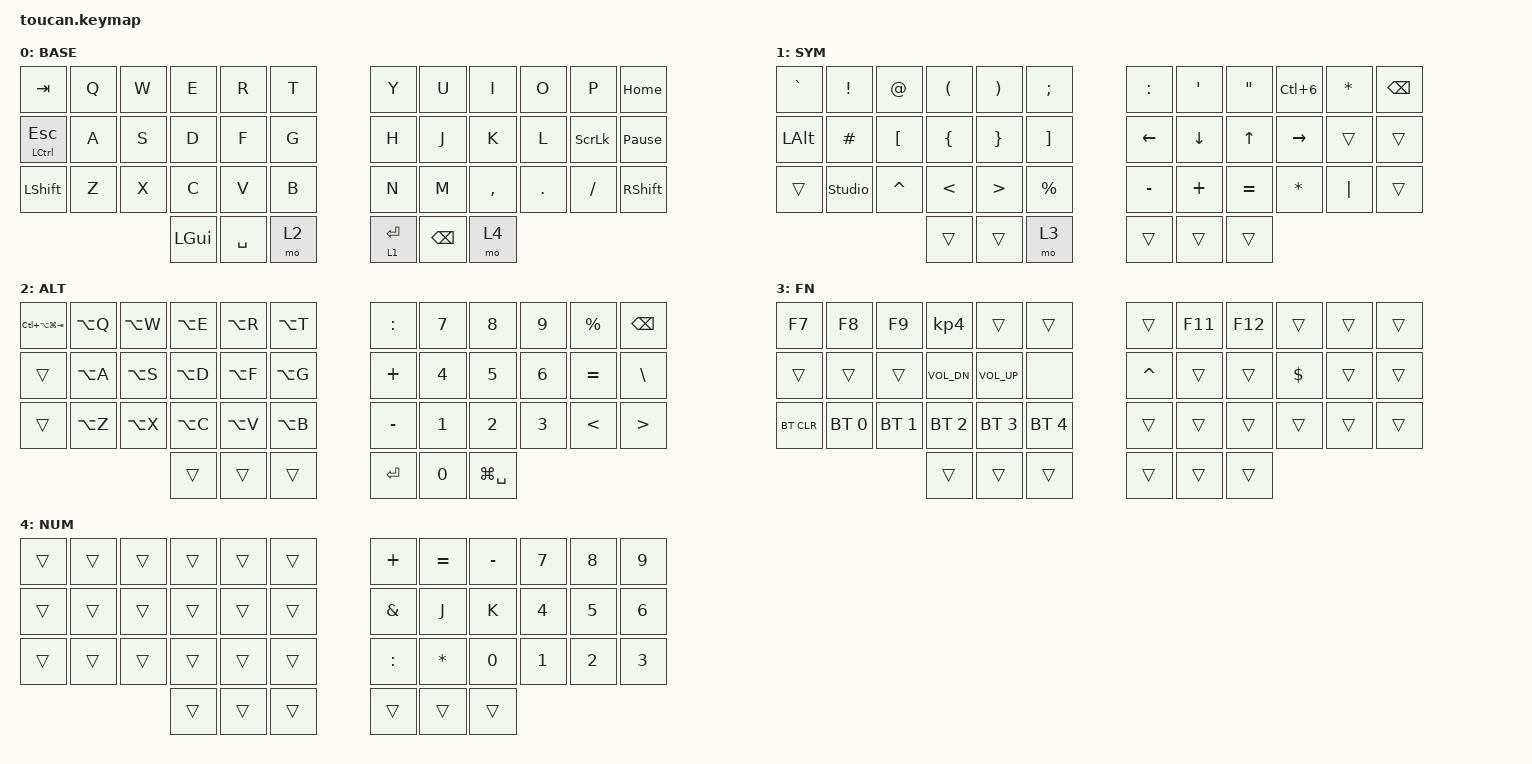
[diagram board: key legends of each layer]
#include <behaviors.dtsi>
#include <dt-bindings/zmk/keys.h>
#include <dt-bindings/zmk/bt.h>
#include <dt-bindings/zmk/outputs.h>

#define BASE 0
#define SYM  1
#define ALT  2
#define FN   3
#define NUM  4

/ {
    behaviors {
        // Layer-tap matching Vial timing (175ms)
        flt: fast_layer_tap {
            compatible = "zmk,behavior-hold-tap";
            #binding-cells = <2>;
            tapping-term-ms = <175>;
            quick-tap-ms = <125>;
            flavor = "balanced";
            bindings = <&mo>, <&kp>;
        };

        // Mod-tap matching Vial timing (175ms)
        fmt: fast_mod_tap {
            compatible = "zmk,behavior-hold-tap";
            #binding-cells = <2>;
            tapping-term-ms = <175>;
            quick-tap-ms = <125>;
            flavor = "balanced";
            bindings = <&kp>, <&kp>;
        };
    };

    keymap {
        compatible = "zmk,keymap";

        // Layer 0: Base QWERTY (ported from Vial)
        // Trackpad = pointer mode
        base {
            display-name = "BASE";
            bindings = <
                &kp TAB        &kp Q  &kp W  &kp E  &kp R      &kp T        &kp Y       &kp U     &kp I      &kp O    &kp P     &kp HOME
                &fmt LCTRL ESC &kp A  &kp S  &kp D  &kp F      &kp G        &kp H       &kp J     &kp K      &kp L    &kp SLCK  &kp PAUSE_BREAK
                &kp LSHFT      &kp Z  &kp X  &kp C  &kp V      &kp B        &kp N       &kp M     &kp COMMA  &kp DOT  &kp FSLH  &kp RSHFT
                                             &kp LGUI  &kp SPACE  &mo 2       &flt 1 RET  &kp BSPC  &mo 4
            >;
        };

        // Layer 1: Symbols + Navigation (via hold Enter)
        // Trackpad = scroll mode
        sym {
            display-name = "SYM";
            bindings = <
                &kp GRAVE  &kp EXCL  &kp AT    &kp LPAR  &kp RPAR  &kp SEMI      &kp COLON  &kp SQT   &kp DQT    &kp LC(N6)  &kp ASTRK  &kp BSPC
                &kp LALT   &kp HASH  &kp LBKT  &kp LBRC  &kp RBRC  &kp RBKT      &kp LEFT   &kp DOWN  &kp UP     &kp RIGHT   &trans     &trans
                &trans     &studio_unlock  &kp CARET  &kp LT  &kp GT  &kp PRCNT  &kp MINUS  &kp PLUS  &kp EQUAL  &kp ASTRK   &kp PIPE   &trans
                                                  &trans  &trans  &mo 3         &trans     &trans    &trans
            >;
        };

        // Layer 2: Alt macros + Numbers (via MO left thumb)
        // Trackpad = scroll mode
        alt {
            display-name = "ALT";
            bindings = <
                &kp LC(LA(LG(TAB)))  &kp LA(Q)  &kp LA(W)  &kp LA(E)  &kp LA(R)  &kp LA(T)      &kp COLON  &kp N7  &kp N8  &kp N9  &kp PRCNT  &kp BSPC
                &trans               &kp LA(A)  &kp LA(S)  &kp LA(D)  &kp LA(F)  &kp LA(G)      &kp PLUS   &kp N4  &kp N5  &kp N6  &kp EQUAL  &kp BSLH
                &trans               &kp LA(Z)  &kp LA(X)  &kp LA(C)  &kp LA(V)  &kp LA(B)      &kp MINUS  &kp N1  &kp N2  &kp N3  &kp LT     &kp GT
                                                           &trans     &trans     &trans         &kp RET    &kp N0  &kp LG(SPACE)
            >;
        };

        // Layer 3: Function keys + Media (via MO from layer 1)
        fn {
            display-name = "FN";
            bindings = <
                &kp F7      &kp F8  &kp F9      &kp KP_N4     &trans        &trans        &trans      &kp F11  &kp F12  &trans    &trans  &trans
                &trans      &trans  &trans      &kp C_VOL_DN  &kp C_VOL_UP  &none         &kp CARET   &trans   &trans   &kp DLLR  &trans  &trans
                &bt BT_CLR  &bt BT_SEL 0  &bt BT_SEL 1  &bt BT_SEL 2  &bt BT_SEL 3  &bt BT_SEL 4  &trans  &trans  &trans  &trans  &trans  &trans
                                                        &trans        &trans        &trans        &trans      &trans   &trans
            >;
        };

        // Layer 4: Numpad (via MO right thumb)
        num {
            display-name = "NUM";
            bindings = <
                &trans  &trans  &trans  &trans  &trans  &trans      &kp PLUS   &kp EQUAL  &kp MINUS  &kp N7  &kp N8  &kp N9
                &trans  &trans  &trans  &trans  &trans  &trans      &kp AMPS   &kp J      &kp K      &kp N4  &kp N5  &kp N6
                &trans  &trans  &trans  &trans  &trans  &trans      &kp COLON  &kp ASTRK  &kp N0     &kp N1  &kp N2  &kp N3
                                        &trans  &trans  &trans      &trans     &trans     &trans
            >;
        };

        extra_1 {
                status = "reserved";
        };

        extra_2 {
                status = "reserved";
        };
    };
};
